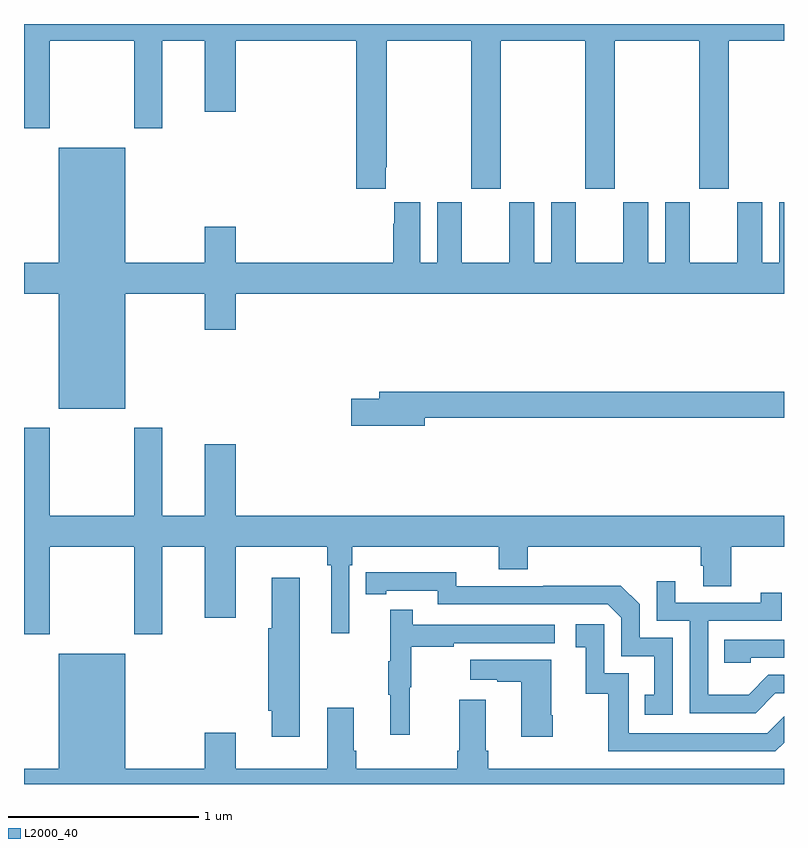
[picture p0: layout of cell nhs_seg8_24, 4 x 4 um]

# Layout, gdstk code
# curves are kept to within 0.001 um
import gdstk
lib = gdstk.Library(unit=1e-6, precision=1e-09)
def P(c, l, *ps):  # polygons
    for p in ps: c.add(gdstk.Polygon(p, *l))
L2000_40 = (2000, 40)

nhs_seg8_24 = lib.new_cell('nhs_seg8_24')
P(nhs_seg8_24, L2000_40, [(112.903,1137.145),(112.908,1137.145),(112.908,1137.812),(113.353,1137.812),(113.353,1137.033),(113.508,1137.033),(113.508,1137.812),(113.953,1137.812),(113.953,1137.033),(114.108,1137.033),(114.108,1137.812),(114.553,1137.812),(114.553,1137.033),(114.708,1137.033),(114.708,1137.812),(115,1137.812),(115,1137.9),(111,1137.9),(111,1137.351),(111.135,1137.351),(111.135,1137.812),(111.58,1137.812),(111.58,1137.351),(111.727,1137.351),(111.727,1137.812),(111.95,1137.812),(111.95,1137.438),(112.114,1137.438),(112.114,1137.812),(112.748,1137.812),(112.748,1137.033),(112.903,1137.033)],
  [(111.532,1136.48),(111.95,1136.48),(111.95,1136.292),(112.114,1136.292),(112.114,1136.48),(115,1136.48),(115,1136.962),(114.974,1136.962),(114.974,1136.644),(114.886,1136.644),(114.886,1136.962),(114.755,1136.962),(114.755,1136.644),(114.505,1136.644),(114.505,1136.962),(114.374,1136.962),(114.374,1136.644),(114.286,1136.644),(114.286,1136.962),(114.155,1136.962),(114.155,1136.644),(113.905,1136.644),(113.905,1136.962),(113.774,1136.962),(113.774,1136.644),(113.686,1136.644),(113.686,1136.962),(113.555,1136.962),(113.555,1136.644),(113.305,1136.644),(113.305,1136.962),(113.174,1136.962),(113.174,1136.644),(113.086,1136.644),(113.086,1136.962),(112.949,1136.962),(112.949,1136.849),(112.943,1136.849),(112.943,1136.644),(112.114,1136.644),(112.114,1136.833),(111.95,1136.833),(111.95,1136.644),(111.532,1136.644),(111.532,1137.25),(111.182,1137.25),(111.182,1136.644),(111,1136.644),(111,1136.48),(111.182,1136.48),(111.182,1135.874),(111.532,1135.874)],
  [(113.11,1135.828),(115,1135.828),(115,1135.964),(112.871,1135.964),(112.871,1135.928),(112.722,1135.928),(112.722,1135.786),(113.11,1135.786)],
  [(111.135,1135.148),(111.58,1135.148),(111.58,1134.687),(111.727,1134.687),(111.727,1135.148),(111.95,1135.148),(111.95,1134.774),(112.114,1134.774),(112.114,1135.148),(112.597,1135.148),(112.597,1135.052),(112.616,1135.052),(112.616,1134.693),(112.713,1134.693),(112.713,1135.052),(112.727,1135.052),(112.727,1135.148),(113.498,1135.148),(113.498,1135.031),(113.651,1135.031),(113.651,1135.148),(114.563,1135.148),(114.563,1135.05),(114.575,1135.05),(114.575,1134.94),(114.723,1134.94),(114.723,1135.148),(115,1135.148),(115,1135.312),(112.114,1135.312),(112.114,1135.687),(111.95,1135.687),(111.95,1135.312),(111.727,1135.312),(111.727,1135.774),(111.58,1135.774),(111.58,1135.312),(111.135,1135.312),(111.135,1135.774),(111,1135.774),(111,1134.687),(111.135,1134.687)],
  [(114.414,1134.669),(114.24,1134.669),(114.24,1134.846),(114.142,1134.944),(113.734,1134.944),(113.734,1134.942),(113.274,1134.942),(113.274,1135.015),(112.798,1135.014),(112.798,1134.898),(112.906,1134.898),(112.906,1134.918),(113.178,1134.918),(113.178,1134.846),(114.072,1134.846),(114.144,1134.774),(114.144,1134.573),(114.317,1134.573),(114.317,1134.369),(114.268,1134.369),(114.268,1134.264),(114.414,1134.264)],
  [(112.45,1134.985),(112.304,1134.985),(112.304,1134.721),(112.286,1134.721),(112.286,1134.285),(112.304,1134.285),(112.304,1134.15),(112.45,1134.15)],
  [(114.955,1134.378),(115,1134.378),(115,1134.474),(114.918,1134.474),(114.814,1134.37),(114.6,1134.37),(114.6,1134.759),(114.989,1134.759),(114.989,1134.907),(114.878,1134.907),(114.878,1134.855),(114.427,1134.855),(114.427,1134.967),(114.33,1134.967),(114.33,1134.759),(114.504,1134.759),(114.504,1134.273),(114.85,1134.273)],
  [(113.03,1134.408),(113.038,1134.408),(113.038,1134.622),(113.261,1134.622),(113.261,1134.642),(113.794,1134.642),(113.794,1134.738),(113.045,1134.738),(113.045,1134.817),(112.928,1134.817),(112.928,1134.545),(112.917,1134.545),(112.917,1134.371),(112.928,1134.371),(112.928,1134.159),(113.03,1134.159)],
  [(115,1134.118),(115,1134.256),(114.912,1134.168),(114.183,1134.168),(114.183,1134.483),(114.054,1134.483),(114.054,1134.742),(113.904,1134.742),(113.904,1134.621),(113.957,1134.621),(113.957,1134.375),(114.075,1134.375),(114.075,1134.072),(114.954,1134.072)],
  [(114.825,1134.564),(115,1134.564),(115,1134.66),(114.685,1134.66),(114.685,1134.537),(114.825,1134.537)],
  [(115,1133.98),(113.444,1133.98),(113.444,1134.076),(113.431,1134.076),(113.431,1134.343),(113.291,1134.343),(113.291,1134.076),(113.279,1134.076),(113.279,1133.98),(112.748,1133.98),(112.748,1134.076),(112.735,1134.076),(112.735,1134.301),(112.595,1134.301),(112.595,1133.98),(112.114,1133.98),(112.114,1134.169),(111.95,1134.169),(111.95,1133.98),(111.532,1133.98),(111.532,1134.586),(111.182,1134.586),(111.182,1133.98),(111,1133.98),(111,1133.9),(115,1133.9)],
  [(113.784,1134.262),(113.776,1134.262),(113.776,1134.553),(113.349,1134.553),(113.349,1134.449),(113.492,1134.449),(113.492,1134.439),(113.618,1134.439),(113.618,1134.15),(113.784,1134.15)])

lib.write_gds('nhs_seg8_24.gds')
